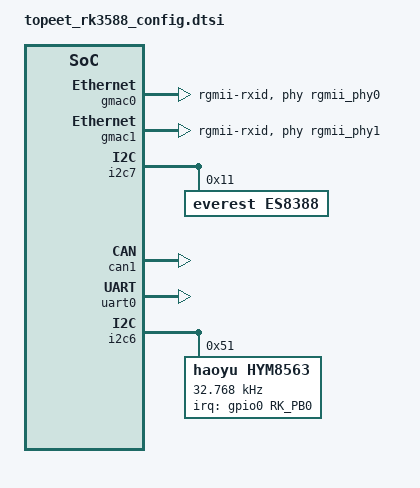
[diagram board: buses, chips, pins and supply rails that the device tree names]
//有线网卡配置
&gmac0 {
	/* Use rgmii-rxid mode to disable rx delay inside Soc */
	phy-mode = "rgmii-rxid";
	clock_in_out = "output";

//	snps,reset-gpio = <&gpio4 RK_PB3 GPIO_ACTIVE_LOW>;
	snps,reset-active-low;
	/* Reset time is 20ms, 100ms for rtl8211f */
	snps,reset-delays-us = <0 20000 100000>;

	pinctrl-names = "default";
	pinctrl-0 = <&gmac0_miim
                     &gmac0_tx_bus2
                     &gmac0_rx_bus2
                     &gmac0_rgmii_clk
                     &gmac0_rgmii_bus
                     &eth0_pins
		             &gmac0_clkinout>;
	tx_delay = <0x44>;
	/* rx_delay = <0x4f>; */

	phy-handle = <&rgmii_phy0>;
	status = "okay";
};

&gmac1 {
	/* Use rgmii-rxid mode to disable rx delay inside Soc */
	phy-mode = "rgmii-rxid";
	clock_in_out = "output";

	//snps,reset-gpio = <&gpio3 RK_PB7 GPIO_ACTIVE_LOW>;
	snps,reset-active-low;
	/* Reset time is 20ms, 100ms for rtl8211f */
	snps,reset-delays-us = <0 20000 100000>;

	pinctrl-names = "default";
	pinctrl-0 = <&gmac1_miim
		     &gmac1_tx_bus2
		     &gmac1_rx_bus2
		     &gmac1_rgmii_clk
		     &gmac1_rgmii_bus
		     &eth1_pins
		     &gmac1_clkinout>;

	tx_delay = <0x43>;
	/* rx_delay = <0x3f>; */

	phy-handle = <&rgmii_phy1>;
	status = "okay";
};

//声卡配置

&i2c7 {
	status = "okay";
	es8388: es8388@11 {
		status = "okay";
		#sound-dai-cells = <0>;
		compatible = "everest,es8388", "everest,es8323";
		reg = <0x11>;
		clocks = <&cru I2S0_8CH_MCLKOUT>;
		clock-names = "mclk";
		assigned-clocks = <&cru I2S0_8CH_MCLKOUT>;
		assigned-clock-rates = <12288000>;
		pinctrl-names = "default";
		pinctrl-0 = <&i2s0_mclk>;
	};
};


//can
&can1 {
	status = "okay";
	compatible = "rockchip,canfd-1.0"; //使用canfd
	pinctrl-0 = <&can1m1_pins>;
	assigned-clocks = <&cru CLK_CAN1>;
	assigned-clock-rates = <100000000>;
};

//485
&uart0 {
	status = "okay";
//	dma-names = "tx", "rx"; //使用dma传输模式
	pinctrl-names = "default";
	pinctrl-0 = <&uart0m2_xfer>;
};
//rtc
&i2c6 {
	status = "okay";
	pinctrl-names = "default";
	pinctrl-0 = <&i2c6m0_xfer>;

	hym8563: hym8563@51 {
		compatible = "haoyu,hym8563";
		reg = <0x51>;
		#clock-cells = <0>;
		clock-frequency = <32768>;
		clock-output-names = "hym8563";
		pinctrl-names = "default";
		pinctrl-0 = <&hym8563_int>;
		interrupt-parent = <&gpio0>;
		interrupts = <RK_PB0 IRQ_TYPE_LEVEL_LOW>;
		wakeup-source;
	};
};





